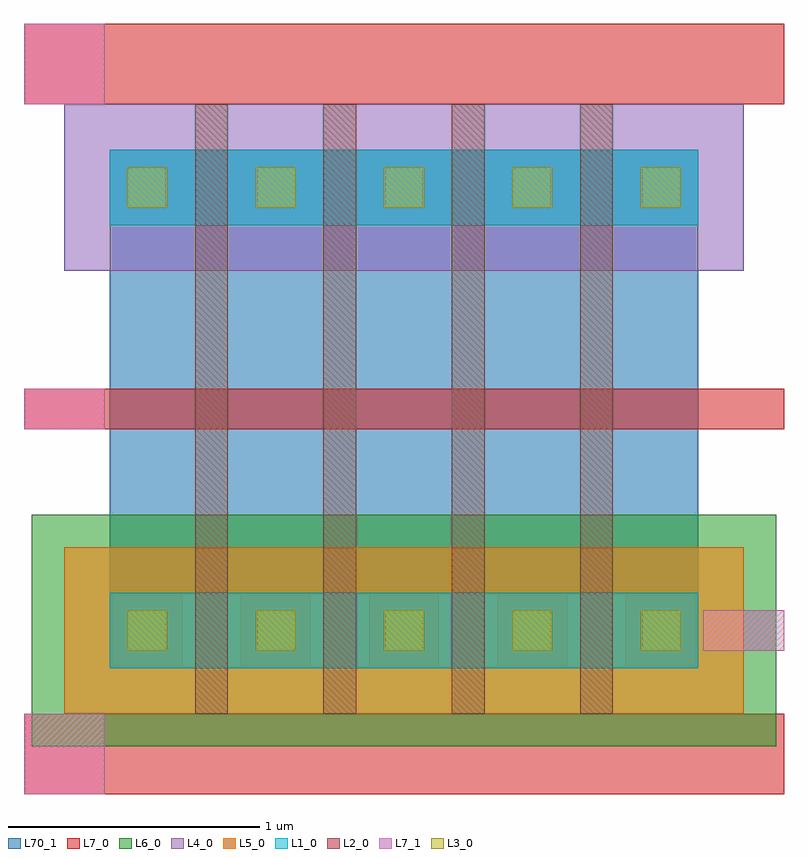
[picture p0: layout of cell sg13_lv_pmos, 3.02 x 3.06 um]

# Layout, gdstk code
import gdstk
lib = gdstk.Library(unit=1e-6, precision=1e-09)
def R(c, l, rs):  # rectangles x0, y0, x1, y1
    for r in rs: c.add(gdstk.rectangle(r[:2], r[2:], *l))
def A(c, l, x, y, w, h, nx, ny, dx, dy):  # array of equal rectangles
    R(c, l, [(x+i*dx, y+j*dy, x+i*dx+w, y+j*dy+h) for i in range(nx) for j in range(ny)])
L1_0 = (1, 0)
L2_0 = (2, 0)
L3_0 = (3, 0)
L4_0 = (4, 0)
L5_0 = (5, 0)
L6_0 = (6, 0)
L7_0 = (7, 0)
L7_1 = (7, 1)
L70_1 = (70, 1)

sg13_lv_pmos = lib.new_cell('sg13_lv_pmos')
R(sg13_lv_pmos, L1_0, [(0.34,0.5,2.68,0.8), (0.34,2.26,2.68,2.56)])
A(sg13_lv_pmos, L2_0, 0.68, 0.32, 0.13, 2.42, 4, 1, 0.51, 0)
A(sg13_lv_pmos, L3_0, 0.41, 0.57, 0.16, 0.16, 5, 2, 0.51, 1.76)
R(sg13_lv_pmos, L4_0, [(0.16,2.08,2.86,2.74)])
R(sg13_lv_pmos, L5_0, [(0.16,0.32,2.86,0.98)])
R(sg13_lv_pmos, L6_0, [(0.03,0.19,2.99,1.11)])
A(sg13_lv_pmos, L7_0, 0.35, 0.51, 0.28, 0.28, 5, 1, 0.51, 0)
R(sg13_lv_pmos, L7_0, [(0,0,3.02,0.32), (0,1.45,3.02,1.61), (0,2.74,3.02,3.06)])
R(sg13_lv_pmos, L7_1, [(0,0,0.32,0.32), (2.7,0.57,3.02,0.73), (0,1.45,0.32,1.61), (0,2.74,0.32,3.06)])
R(sg13_lv_pmos, L70_1, [(0.34,0.5,2.68,2.56)])

lib.write_gds('sg13_lv_pmos.gds')
